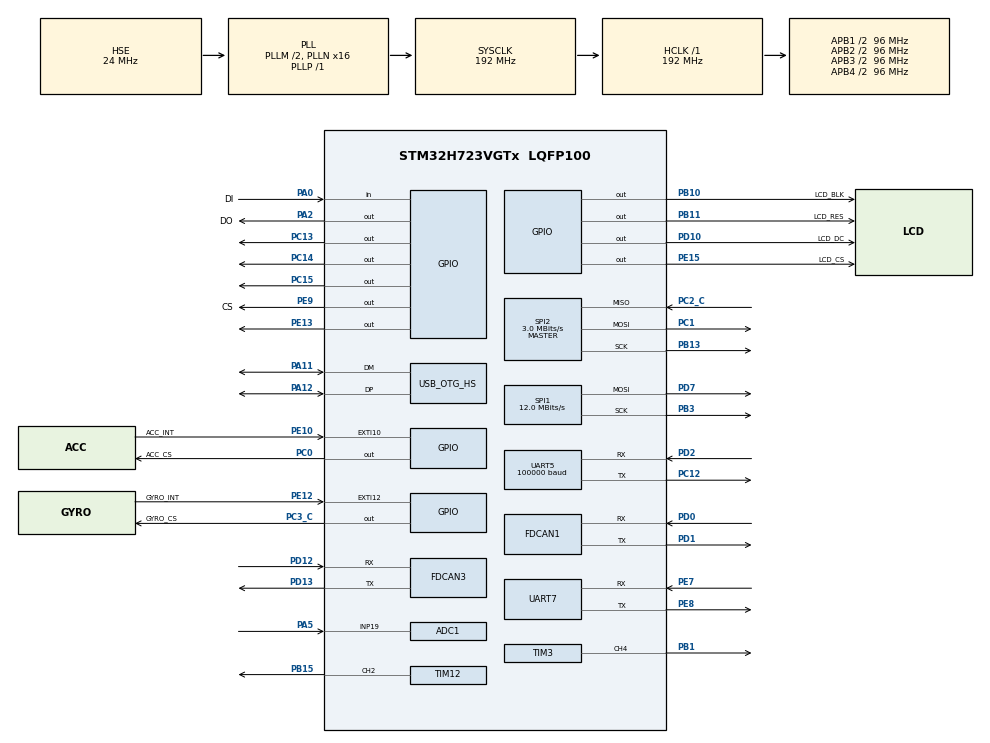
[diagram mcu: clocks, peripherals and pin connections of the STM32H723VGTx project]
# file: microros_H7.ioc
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ADC1.Channel-1\#ChannelRegularConversion=ADC_CHANNEL_19
ADC1.NbrOfConversionFlag=1
ADC1.OffsetNumber-1\#ChannelRegularConversion=ADC_OFFSET_NONE
ADC1.OffsetSignedSaturation-1\#ChannelRegularConversion=DISABLE
ADC1.Rank-1\#ChannelRegularConversion=1
ADC1.SamplingTime-1\#ChannelRegularConversion=ADC_SAMPLETIME_1CYCLE_5
ADC1.master=1
CORTEX_M7.CPU_ICache=Enabled
CORTEX_M7.default_mode_Activation=1
Dma.Request0=UART7_RX
Dma.Request1=UART7_TX
Dma.Request2=SPI2_RX
Dma.Request3=SPI2_TX
Dma.Request4=UART5_RX
Dma.SPI2_RX.2.Direction=DMA_PERIPH_TO_MEMORY
Dma.SPI2_RX.2.EventEnable=DISABLE
Dma.SPI2_RX.2.FIFOMode=DMA_FIFOMODE_DISABLE
Dma.SPI2_RX.2.Instance=DMA1_Stream2
Dma.SPI2_RX.2.MemDataAlignment=DMA_MDATAALIGN_BYTE
Dma.SPI2_RX.2.MemInc=DMA_MINC_ENABLE
Dma.SPI2_RX.2.Mode=DMA_NORMAL
Dma.SPI2_RX.2.PeriphDataAlignment=DMA_PDATAALIGN_BYTE
Dma.SPI2_RX.2.PeriphInc=DMA_PINC_DISABLE
Dma.SPI2_RX.2.Polarity=HAL_DMAMUX_REQ_GEN_RISING
Dma.SPI2_RX.2.Priority=DMA_PRIORITY_VERY_HIGH
Dma.SPI2_RX.2.RequestNumber=1
Dma.SPI2_RX.2.SignalID=NONE
Dma.SPI2_RX.2.SyncEnable=DISABLE
Dma.SPI2_RX.2.SyncPolarity=HAL_DMAMUX_SYNC_NO_EVENT
Dma.SPI2_RX.2.SyncRequestNumber=1
Dma.SPI2_RX.2.SyncSignalID=NONE
Dma.SPI2_TX.3.Direction=DMA_MEMORY_TO_PERIPH
Dma.SPI2_TX.3.EventEnable=DISABLE
Dma.SPI2_TX.3.FIFOMode=DMA_FIFOMODE_DISABLE
Dma.SPI2_TX.3.Instance=DMA1_Stream3
Dma.SPI2_TX.3.MemDataAlignment=DMA_MDATAALIGN_BYTE
Dma.SPI2_TX.3.MemInc=DMA_MINC_ENABLE
Dma.SPI2_TX.3.Mode=DMA_NORMAL
Dma.SPI2_TX.3.PeriphDataAlignment=DMA_PDATAALIGN_BYTE
Dma.SPI2_TX.3.PeriphInc=DMA_PINC_DISABLE
Dma.SPI2_TX.3.Polarity=HAL_DMAMUX_REQ_GEN_RISING
Dma.SPI2_TX.3.Priority=DMA_PRIORITY_HIGH
Dma.SPI2_TX.3.RequestNumber=1
Dma.SPI2_TX.3.SignalID=NONE
Dma.SPI2_TX.3.SyncEnable=DISABLE
Dma.SPI2_TX.3.SyncPolarity=HAL_DMAMUX_SYNC_NO_EVENT
Dma.SPI2_TX.3.SyncRequestNumber=1
Dma.SPI2_TX.3.SyncSignalID=NONE
Dma.UART5_RX.4.Direction=DMA_PERIPH_TO_MEMORY
Dma.UART5_RX.4.EventEnable=DISABLE
Dma.UART5_RX.4.FIFOMode=DMA_FIFOMODE_DISABLE
Dma.UART5_RX.4.Instance=DMA1_Stream4
Dma.UART5_RX.4.MemDataAlignment=DMA_MDATAALIGN_BYTE
Dma.UART5_RX.4.MemInc=DMA_MINC_ENABLE
Dma.UART5_RX.4.Mode=DMA_NORMAL
Dma.UART5_RX.4.PeriphDataAlignment=DMA_PDATAALIGN_BYTE
Dma.UART5_RX.4.PeriphInc=DMA_PINC_DISABLE
Dma.UART5_RX.4.Polarity=HAL_DMAMUX_REQ_GEN_RISING
Dma.UART5_RX.4.Priority=DMA_PRIORITY_HIGH
Dma.UART5_RX.4.RequestNumber=1
Dma.UART5_RX.4.SignalID=NONE
Dma.UART5_RX.4.SyncEnable=DISABLE
Dma.UART5_RX.4.SyncPolarity=HAL_DMAMUX_SYNC_NO_EVENT
Dma.UART5_RX.4.SyncRequestNumber=1
Dma.UART5_RX.4.SyncSignalID=NONE
Dma.UART7_RX.0.Direction=DMA_PERIPH_TO_MEMORY
Dma.UART7_RX.0.EventEnable=DISABLE
Dma.UART7_RX.0.FIFOMode=DMA_FIFOMODE_DISABLE
Dma.UART7_RX.0.Instance=DMA1_Stream0
Dma.UART7_RX.0.MemDataAlignment=DMA_MDATAALIGN_BYTE
Dma.UART7_RX.0.MemInc=DMA_MINC_ENABLE
Dma.UART7_RX.0.Mode=DMA_CIRCULAR
Dma.UART7_RX.0.PeriphDataAlignment=DMA_PDATAALIGN_BYTE
Dma.UART7_RX.0.PeriphInc=DMA_PINC_DISABLE
Dma.UART7_RX.0.Polarity=HAL_DMAMUX_REQ_GEN_RISING
Dma.UART7_RX.0.Priority=DMA_PRIORITY_VERY_HIGH
Dma.UART7_RX.0.RequestNumber=1
Dma.UART7_RX.0.SignalID=NONE
Dma.UART7_RX.0.SyncEnable=DISABLE
Dma.UART7_RX.0.SyncPolarity=HAL_DMAMUX_SYNC_NO_EVENT
Dma.UART7_RX.0.SyncRequestNumber=1
Dma.UART7_RX.0.SyncSignalID=NONE
Dma.UART7_TX.1.Direction=DMA_MEMORY_TO_PERIPH
Dma.UART7_TX.1.EventEnable=DISABLE
Dma.UART7_TX.1.FIFOMode=DMA_FIFOMODE_DISABLE
Dma.UART7_TX.1.Instance=DMA1_Stream1
Dma.UART7_TX.1.MemDataAlignment=DMA_MDATAALIGN_BYTE
Dma.UART7_TX.1.MemInc=DMA_MINC_ENABLE
Dma.UART7_TX.1.Mode=DMA_NORMAL
Dma.UART7_TX.1.PeriphDataAlignment=DMA_PDATAALIGN_BYTE
Dma.UART7_TX.1.PeriphInc=DMA_PINC_DISABLE
Dma.UART7_TX.1.Polarity=HAL_DMAMUX_REQ_GEN_RISING
Dma.UART7_TX.1.Priority=DMA_PRIORITY_VERY_HIGH
Dma.UART7_TX.1.RequestNumber=1
Dma.UART7_TX.1.SignalID=NONE
Dma.UART7_TX.1.SyncEnable=DISABLE
Dma.UART7_TX.1.SyncPolarity=HAL_DMAMUX_SYNC_NO_EVENT
Dma.UART7_TX.1.SyncRequestNumber=1
Dma.UART7_TX.1.SyncSignalID=NONE
FDCAN1.AutoRetransmission=ENABLE
FDCAN1.CalculateBaudRateNominal=1000000
FDCAN1.CalculateTimeBitNominal=1000
FDCAN1.CalculateTimeQuantumNominal=40.0
FDCAN1.DataPrescaler=4
FDCAN1.DataTimeSeg1=19
FDCAN1.DataTimeSeg2=5
FDCAN1.ExtFiltersNbr=5
FDCAN1.NominalPrescaler=4
FDCAN1.NominalTimeSeg1=19
FDCAN1.NominalTimeSeg2=5
FDCAN1.RxFifo0ElmtSize=FDCAN_DATA_BYTES_24
FDCAN1.RxFifo0ElmtsNbr=4
FDCAN1.RxFifo1ElmtSize=FDCAN_DATA_BYTES_24
FDCAN1.StdFiltersNbr=5
FDCAN1.TxElmtSize=FDCAN_DATA_BYTES_24
FDCAN1.TxFifoQueueElmtsNbr=32
FDCAN3.AutoRetransmission=ENABLE
FDCAN3.CalculateBaudRateNominal=1000000
FDCAN3.CalculateTimeBitNominal=1000
FDCAN3.CalculateTimeQuantumNominal=40.0
FDCAN3.DataPrescaler=4
FDCAN3.DataTimeSeg1=19
FDCAN3.DataTimeSeg2=5
FDCAN3.ExtFiltersNbr=5
FDCAN3.MessageRAMOffset=1709
FDCAN3.NominalPrescaler=4
FDCAN3.NominalTimeSeg1=19
FDCAN3.NominalTimeSeg2=5
FDCAN3.RxFifo0ElmtSize=FDCAN_DATA_BYTES_8
FDCAN3.RxFifo0ElmtsNbr=2
FDCAN3.RxFifo1ElmtSize=FDCAN_DATA_BYTES_8
FDCAN3.StdFiltersNbr=5
FDCAN3.TxElmtSize=FDCAN_DATA_BYTES_8
FDCAN3.TxFifoQueueElmtsNbr=32
FREERTOS.Tasks01=defaultTask,24,3000,StartDefaultTask,Default,NULL,Dynamic,NULL,NULL
FREERTOS.configTOTAL_HEAP_SIZE=98304
Mcu.Family=STM32H7
Mcu.Name=STM32H723VGTx
Mcu.Package=LQFP100
NVIC.DMA1_Stream0_IRQn=true\:5\:0\:false\:false\:true\:true\:false\:true\:true
NVIC.DMA1_Stream1_IRQn=true\:5\:0\:false\:false\:true\:true\:false\:true\:true
NVIC.DMA1_Stream2_IRQn=true\:5\:0\:false\:false\:true\:true\:false\:true\:true
NVIC.DMA1_Stream3_IRQn=true\:5\:0\:false\:false\:true\:true\:false\:true\:true
NVIC.DMA1_Stream4_IRQn=true\:5\:0\:false\:false\:true\:true\:false\:true\:true
NVIC.FDCAN1_IT0_IRQn=true\:5\:0\:false\:false\:true\:true\:true\:true\:true
NVIC.FDCAN3_IT0_IRQn=true\:5\:0\:false\:false\:true\:true\:true\:true\:true
NVIC.OTG_HS_IRQn=true\:5\:0\:false\:false\:true\:true\:false\:true\:true
NVIC.PriorityGroup=NVIC_PRIORITYGROUP_4
NVIC.SPI2_IRQn=true\:5\:0\:false\:false\:true\:true\:false\:true\:true
NVIC.TIM6_DAC_IRQn=true\:15\:0\:false\:false\:true\:false\:false\:true\:true
NVIC.TimeBase=TIM6_DAC_IRQn
NVIC.TimeBaseIP=TIM6
NVIC.UART7_IRQn=true\:5\:0\:false\:false\:true\:true\:false\:true\:true
PA0.GPIO_Label=DI
PA0.GPIO_PuPd=GPIO_PULLUP
PA0.Signal=GPIO_Input
PA11.Mode=Device_Only_FS
PA11.Signal=USB_OTG_HS_DM
PA12.Mode=Device_Only_FS
PA12.Signal=USB_OTG_HS_DP
PA13(JTMS/SWDIO).Mode=Serial_Wire
PA13(JTMS/SWDIO).Signal=DEBUG_JTMS-SWDIO
PA14(JTCK/SWCLK).Mode=Serial_Wire
PA14(JTCK/SWCLK).Signal=DEBUG_JTCK-SWCLK
PA2.GPIO_Label=DO
PA2.GPIO_PuPd=GPIO_PULLUP
PA2.GPIO_Speed=GPIO_SPEED_FREQ_VERY_HIGH
PA2.PinState=GPIO_PIN_SET
PA2.Signal=GPIO_Output
PA5.Signal=ADCx_INP19
PB1.Signal=S_TIM3_CH4
PB10.GPIO_Label=LCD_BLK
PB10.GPIO_PuPd=GPIO_PULLUP
PB10.GPIO_Speed=GPIO_SPEED_FREQ_VERY_HIGH
PB10.PinState=GPIO_PIN_SET
PB10.Signal=GPIO_Output
PB11.GPIO_Label=LCD_RES
PB11.GPIO_PuPd=GPIO_PULLUP
PB11.GPIO_Speed=GPIO_SPEED_FREQ_VERY_HIGH
PB11.PinState=GPIO_PIN_SET
PB11.Signal=GPIO_Output
PB13.Mode=Full_Duplex_Master
PB13.Signal=SPI2_SCK
PB15.Signal=S_TIM12_CH2
PB3(JTDO/TRACESWO).GPIO_Speed=GPIO_SPEED_FREQ_VERY_HIGH
PB3(JTDO/TRACESWO).Mode=TX_Only_Simplex_Unidirect_Master
PB3(JTDO/TRACESWO).Signal=SPI1_SCK
PB5.Signal=FDCAN2_RX
PB6.Signal=FDCAN2_TX
PC0.GPIO_Label=ACC_CS
PC0.GPIO_Speed=GPIO_SPEED_FREQ_VERY_HIGH
PC0.PinState=GPIO_PIN_SET
PC0.Signal=GPIO_Output
PC1.Mode=Full_Duplex_Master
PC1.Signal=SPI2_MOSI
PC12.Mode=Asynchronous
PC12.Signal=UART5_TX
PC13.PinState=GPIO_PIN_SET
PC13.Signal=GPIO_Output
PC14-OSC32_IN.PinState=GPIO_PIN_SET
PC14-OSC32_IN.Signal=GPIO_Output
PC15-OSC32_OUT.PinState=GPIO_PIN_SET
PC15-OSC32_OUT.Signal=GPIO_Output
PC2_C.Mode=Full_Duplex_Master
PC2_C.Signal=SPI2_MISO
PC3_C.GPIO_Label=GYRO_CS
PC3_C.GPIO_Speed=GPIO_SPEED_FREQ_VERY_HIGH
PC3_C.PinState=GPIO_PIN_SET
PC3_C.Signal=GPIO_Output
PD0.GPIO_PuPd=GPIO_PULLUP
PD0.GPIO_Speed=GPIO_SPEED_FREQ_VERY_HIGH
PD0.Mode=FDCAN_Activate
PD0.Signal=FDCAN1_RX
PD1.GPIO_PuPd=GPIO_PULLUP
PD1.GPIO_Speed=GPIO_SPEED_FREQ_VERY_HIGH
PD1.Mode=FDCAN_Activate
PD1.Signal=FDCAN1_TX
PD10.GPIO_Label=LCD_DC
PD10.GPIO_PuPd=GPIO_PULLUP
PD10.GPIO_Speed=GPIO_SPEED_FREQ_VERY_HIGH
PD10.PinState=GPIO_PIN_SET
PD10.Signal=GPIO_Output
PD12.GPIO_PuPd=GPIO_PULLUP
PD12.GPIO_Speed=GPIO_SPEED_FREQ_VERY_HIGH
PD12.Mode=FDCAN_Activate
PD12.Signal=FDCAN3_RX
PD13.GPIO_PuPd=GPIO_PULLUP
PD13.GPIO_Speed=GPIO_SPEED_FREQ_VERY_HIGH
PD13.Mode=FDCAN_Activate
PD13.Signal=FDCAN3_TX
PD2.Mode=Asynchronous
PD2.Signal=UART5_RX
PD7.GPIO_Speed=GPIO_SPEED_FREQ_VERY_HIGH
PD7.Mode=TX_Only_Simplex_Unidirect_Master
PD7.Signal=SPI1_MOSI
PE10.GPIO_Label=ACC_INT
PE10.Signal=GPXTI10
PE12.GPIO_Label=GYRO_INT
PE12.Signal=GPXTI12
PE13.GPIO_PuPd=GPIO_PULLUP
PE13.GPIO_Speed=GPIO_SPEED_FREQ_VERY_HIGH
PE13.PinState=GPIO_PIN_SET
PE13.Signal=GPIO_Output
PE15.GPIO_Label=LCD_CS
PE15.GPIO_PuPd=GPIO_PULLUP
PE15.GPIO_Speed=GPIO_SPEED_FREQ_VERY_HIGH
PE15.PinState=GPIO_PIN_SET
PE15.Signal=GPIO_Output
PE7.Mode=Asynchronous
PE7.Signal=UART7_RX
PE8.Mode=Asynchronous
PE8.Signal=UART7_TX
PE9.GPIO_Label=CS
PE9.GPIO_PuPd=GPIO_PULLUP
PE9.GPIO_Speed=GPIO_SPEED_FREQ_VERY_HIGH
PE9.PinState=GPIO_PIN_SET
PE9.Signal=GPIO_Output
PH0-OSC_IN.Mode=HSE-External-Oscillator
PH0-OSC_IN.Signal=RCC_OSC_IN
PH1-OSC_OUT.Mode=HSE-External-Oscillator
PH1-OSC_OUT.Signal=RCC_OSC_OUT
ProjectManager.HeapSize=0x4000
ProjectManager.StackSize=0x4000
ProjectManager.TargetToolchain=Makefile
RCC.ADCFreq_Value=150000000
RCC.APB1Freq_Value=96000000
RCC.APB2Freq_Value=96000000
RCC.APB3Freq_Value=96000000
RCC.APB4Freq_Value=96000000
RCC.CortexFreq_Value=192000000
RCC.D1PPRE=RCC_APB3_DIV2
RCC.D2PPRE1=RCC_APB1_DIV2
RCC.D2PPRE2=RCC_APB2_DIV2
RCC.D3PPRE=RCC_APB4_DIV2
RCC.DIVM1=2
RCC.DIVM2=2
RCC.DIVN1=16
RCC.DIVN2=25
RCC.DIVP1=1
RCC.DIVQ1=4
RCC.DIVQ2=3
RCC.FDCANCLockSelection=RCC_FDCANCLKSOURCE_PLL2
RCC.HCLKFreq_Value=192000000
RCC.HSE_VALUE=24000000
RCC.PLL2FRACN=0
RCC.PLL3FRACN=0
RCC.PLLFRACN=0
RCC.PLLSourceVirtual=RCC_PLLSOURCE_HSE
RCC.SYSCLKFreq_VALUE=192000000
RCC.SYSCLKSource=RCC_SYSCLKSOURCE_PLLCLK
RCC.USBFreq_Value=48000000
SH.ADCx_INP19.0=ADC1_INP19,IN19-Single-Ended
SH.S_TIM12_CH2.0=TIM12_CH2,PWM Generation2 CH2
SH.S_TIM3_CH4.0=TIM3_CH4,PWM Generation4 CH4
SPI1.BaudRatePrescaler=SPI_BAUDRATEPRESCALER_8
SPI1.CLKPhase=SPI_PHASE_2EDGE
SPI1.CLKPolarity=SPI_POLARITY_HIGH
SPI1.CalculateBaudRate=12.0 MBits/s
SPI1.DataSize=SPI_DATASIZE_8BIT
SPI1.Direction=SPI_DIRECTION_2LINES_TXONLY
SPI1.FifoThreshold=SPI_FIFO_THRESHOLD_01DATA
SPI1.MasterKeepIOState=SPI_MASTER_KEEP_IO_STATE_ENABLE
SPI1.Mode=SPI_MODE_MASTER
SPI1.VirtualType=VM_MASTER
SPI2.BaudRatePrescaler=SPI_BAUDRATEPRESCALER_32
SPI2.CLKPhase=SPI_PHASE_2EDGE
SPI2.CLKPolarity=SPI_POLARITY_HIGH
SPI2.CalculateBaudRate=3.0 MBits/s
SPI2.DataSize=SPI_DATASIZE_8BIT
SPI2.Direction=SPI_DIRECTION_2LINES
SPI2.FifoThreshold=SPI_FIFO_THRESHOLD_10DATA
SPI2.Mode=SPI_MODE_MASTER
SPI2.VirtualType=VM_MASTER
TIM12.Channel-PWM\ Generation2\ CH2=TIM_CHANNEL_2
TIM12.Period=2000-1
TIM12.Prescaler=24-1
TIM3.AutoReloadPreload=TIM_AUTORELOAD_PRELOAD_ENABLE
TIM3.Channel-PWM\ Generation4\ CH4=TIM_CHANNEL_4
TIM3.Period=10000-1
TIM3.Prescaler=24-1
UART5.BaudRate=100000
UART5.Parity=UART_PARITY_EVEN
UART5.StopBits=UART_STOPBITS_2
UART5.WordLength=UART_WORDLENGTH_9B
USB_DEVICE.CLASS_NAME_HS=CDC
USB_DEVICE.VirtualMode=Cdc
USB_DEVICE.VirtualModeHS=Cdc_HS
USB_OTG_HS.VirtualMode-Device_Only_FS=Device_Only_FS
VP_FREERTOS_VS_CMSIS_V2.Mode=CMSIS_V2
VP_MEMORYMAP_VS_MEMORYMAP.Mode=CurAppReg
VP_SYS_VS_tim6.Mode=TIM6
VP_USB_DEVICE_VS_USB_DEVICE_CDC_HS.Mode=CDC_HS
board=custom

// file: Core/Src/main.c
/* USER CODE BEGIN Header */
/**
  ******************************************************************************
  * @file           : main.c
  * @brief          : Main program body
  ******************************************************************************
  * @attention
  *
  * Copyright (c) 2026 STMicroelectronics.
  * All rights reserved.
  *
  * This software is licensed under terms that can be found in the LICENSE file
  * in the root directory of this software component.
  * If no LICENSE file comes with this software, it is provided AS-IS.
  *
  ******************************************************************************
  */
/* USER CODE END Header */
#include "main.h"
#include "cmsis_os.h"
#include "adc.h"
#include "dma.h"
#include "fdcan.h"
#include "spi.h"
#include "tim.h"
#include "usart.h"
#include "usb_device.h"
#include "gpio.h"

/* USER CODE BEGIN Includes */
#include "bsp_dwt.h"
#include "BMI088driver.h"
#include "bsp_sbus.h"
#include "lcd.h"
#include "stdio.h"
/* USER CODE END Includes */

void SystemClock_Config(void);
void PeriphCommonClock_Config(void);
static void MPU_Config(void);
void MX_FREERTOS_Init(void);

int main(void)
{

  /* MPU Configuration--------------------------------------------------------*/
  MPU_Config();

  /* Enable the CPU Cache */

  /* Enable I-Cache---------------------------------------------------------*/
  SCB_EnableICache();

  /* MCU Configuration--------------------------------------------------------*/

  /* Reset of all peripherals, Initializes the Flash interface and the Systick. */
  HAL_Init();

  /* Configure the system clock */
  SystemClock_Config();

  /* Configure the peripherals common clocks */
  PeriphCommonClock_Config();

  /* USER CODE BEGIN SysInit */
  /* Derive the cycle-counter frequency from the actual clock tree instead of a
     literal: this PLL setup yields 192 MHz, so the previous DWT_Init(550) made
     every DWT_GetDeltaT() report dt 2.86x too small — which fed straight into
     the Mahony filter's integration step. */
  DWT_Init(SystemCoreClock / 1000000U);
  /* USER CODE END SysInit */

  /* Initialize all configured peripherals */
  MX_GPIO_Init();
  MX_DMA_Init();
  MX_UART7_Init();
  MX_FDCAN1_Init();
  MX_SPI2_Init();
  MX_TIM3_Init();
  MX_TIM12_Init();
  MX_FDCAN3_Init();
  MX_SPI1_Init();
  MX_ADC1_Init();
  MX_UART5_Init();
  /* USER CODE BEGIN 2 */
  printf("\r\n========================================\r\n");
  printf("[BOOT] STM32H723 Robot Controller Starting...\r\n");
  printf("[BOOT] Debug Serial: UART7 @ 115200 bps (PE8 TX)\r\n");

  sbus_bsp_init();        /* SBUS / DBUS Receiver on UART5 (PD2) */

  printf("[BOOT] Initializing ST7789 LCD (SPI1 Master)...\r\n");
  LCD_Init();
  printf("[BOOT] LCD Init Done! SPI1: State=%d, Error=0x%08lX, KernelClk=%lu Hz\r\n",
         hspi1.State, hspi1.ErrorCode, HAL_RCCEx_GetPeriphCLKFreq(RCC_PERIPHCLK_SPI1));
  LCD_Fill(0, 0, LCD_W, LCD_H, BLACK); /* Clear Screen to Black */
  LCD_DrawRectangle(0, 0, LCD_W-1, LCD_H-1, CYAN);
  LCD_ShowString(10, 30, (const uint8_t*)"CtrBoard-H7", BRRED, BLACK, 24, 0);
  LCD_ShowString(10, 80, (const uint8_t*)"micro-ROS USB Link", WHITE, BLACK, 16, 0);
  LCD_ShowString(10, 110, (const uint8_t*)"STM32H723 @ 550MHz", GREEN, BLACK, 16, 0);
  printf("[BOOT] LCD Init OK (280x240 Panel Active)\r\n");

  uint8_t imu_ret = BMI088_init(&hspi2, 0); /* Try init BMI088, do not block MCU if IMU missing */
  printf("[BOOT] BMI088 IMU: %s\r\n", (imu_ret == 0) ? "OK" : "FAILED / NOT FOUND");
  printf("[BOOT] Launching FreeRTOS Kernel...\r\n");
  printf("========================================\r\n\r\n");
  /* USER CODE END 2 */

  /* Init scheduler */
  osKernelInitialize();  /* Call init function for freertos objects (in cmsis_os2.c) */
  MX_FREERTOS_Init();

  /* Start scheduler */
  osKernelStart();

  /* We should never get here as control is now taken by the scheduler */

  /* Infinite loop */
  while (1)
  {

  }
}

void SystemClock_Config(void)
{
  RCC_OscInitTypeDef RCC_OscInitStruct = {0};
  RCC_ClkInitTypeDef RCC_ClkInitStruct = {0};

  /** Supply configuration update enable
  */
  HAL_PWREx_ConfigSupply(PWR_LDO_SUPPLY);

  /** Configure the main internal regulator output voltage
  */
  __HAL_PWR_VOLTAGESCALING_CONFIG(PWR_REGULATOR_VOLTAGE_SCALE1);

  while(!__HAL_PWR_GET_FLAG(PWR_FLAG_VOSRDY)) {}

  /** Initializes the RCC Oscillators according to the specified parameters
  * in the RCC_OscInitTypeDef structure.
  */
  RCC_OscInitStruct.OscillatorType = RCC_OSCILLATORTYPE_HSE;
  RCC_OscInitStruct.HSEState = RCC_HSE_ON;
  RCC_OscInitStruct.PLL.PLLState = RCC_PLL_ON;
  RCC_OscInitStruct.PLL.PLLSource = RCC_PLLSOURCE_HSE;
  RCC_OscInitStruct.PLL.PLLM = 2;
  RCC_OscInitStruct.PLL.PLLN = 16;
  RCC_OscInitStruct.PLL.PLLP = 1;
  RCC_OscInitStruct.PLL.PLLQ = 4;
  RCC_OscInitStruct.PLL.PLLR = 2;
  RCC_OscInitStruct.PLL.PLLRGE = RCC_PLL1VCIRANGE_3;
  RCC_OscInitStruct.PLL.PLLVCOSEL = RCC_PLL1VCOWIDE;
  RCC_OscInitStruct.PLL.PLLFRACN = 0;
  if (HAL_RCC_OscConfig(&RCC_OscInitStruct) != HAL_OK)
  {
    Error_Handler();
  }

  /** Initializes the CPU, AHB and APB buses clocks
  */
  RCC_ClkInitStruct.ClockType = RCC_CLOCKTYPE_HCLK|RCC_CLOCKTYPE_SYSCLK
                              |RCC_CLOCKTYPE_PCLK1|RCC_CLOCKTYPE_PCLK2
                              |RCC_CLOCKTYPE_D3PCLK1|RCC_CLOCKTYPE_D1PCLK1;
  RCC_ClkInitStruct.SYSCLKSource = RCC_SYSCLKSOURCE_PLLCLK;
  RCC_ClkInitStruct.SYSCLKDivider = RCC_SYSCLK_DIV1;
  RCC_ClkInitStruct.AHBCLKDivider = RCC_HCLK_DIV1;
  RCC_ClkInitStruct.APB3CLKDivider = RCC_APB3_DIV2;
  RCC_ClkInitStruct.APB1CLKDivider = RCC_APB1_DIV2;
  RCC_ClkInitStruct.APB2CLKDivider = RCC_APB2_DIV2;
  RCC_ClkInitStruct.APB4CLKDivider = RCC_APB4_DIV2;

  if (HAL_RCC_ClockConfig(&RCC_ClkInitStruct, FLASH_LATENCY_2) != HAL_OK)
  {
    Error_Handler();
  }
}

void PeriphCommonClock_Config(void)
{
  RCC_PeriphCLKInitTypeDef PeriphClkInitStruct = {0};

  /** Initializes the peripherals clock
  */
  PeriphClkInitStruct.PeriphClockSelection = RCC_PERIPHCLK_ADC|RCC_PERIPHCLK_FDCAN;
  PeriphClkInitStruct.PLL2.PLL2M = 2;
  PeriphClkInitStruct.PLL2.PLL2N = 25;
  PeriphClkInitStruct.PLL2.PLL2P = 2;
  PeriphClkInitStruct.PLL2.PLL2Q = 3;
  PeriphClkInitStruct.PLL2.PLL2R = 2;
  PeriphClkInitStruct.PLL2.PLL2RGE = RCC_PLL2VCIRANGE_3;
  PeriphClkInitStruct.PLL2.PLL2VCOSEL = RCC_PLL2VCOWIDE;
  PeriphClkInitStruct.PLL2.PLL2FRACN = 0;
  PeriphClkInitStruct.FdcanClockSelection = RCC_FDCANCLKSOURCE_PLL2;
  PeriphClkInitStruct.AdcClockSelection = RCC_ADCCLKSOURCE_PLL2;
  if (HAL_RCCEx_PeriphCLKConfig(&PeriphClkInitStruct) != HAL_OK)
  {
    Error_Handler();
  }
}

 /* MPU Configuration */

void MPU_Config(void)
{
  MPU_Region_InitTypeDef MPU_InitStruct = {0};

  /* Disables the MPU */
  HAL_MPU_Disable();

  /** Initializes and configures the Region and the memory to be protected
  */
  MPU_InitStruct.Enable = MPU_REGION_ENABLE;
  MPU_InitStruct.Number = MPU_REGION_NUMBER0;
  MPU_InitStruct.BaseAddress = 0x0;
  MPU_InitStruct.Size = MPU_REGION_SIZE_4GB;
  MPU_InitStruct.SubRegionDisable = 0x87;
  MPU_InitStruct.TypeExtField = MPU_TEX_LEVEL0;
  MPU_InitStruct.AccessPermission = MPU_REGION_NO_ACCESS;
  MPU_InitStruct.DisableExec = MPU_INSTRUCTION_ACCESS_DISABLE;
  MPU_InitStruct.IsShareable = MPU_ACCESS_SHAREABLE;
  MPU_InitStruct.IsCacheable = MPU_ACCESS_NOT_CACHEABLE;
  MPU_InitStruct.IsBufferable = MPU_ACCESS_NOT_BUFFERABLE;

  HAL_MPU_ConfigRegion(&MPU_InitStruct);
  /* Enables the MPU */
  HAL_MPU_Enable(MPU_PRIVILEGED_DEFAULT);

}

void HAL_TIM_PeriodElapsedCallback(TIM_HandleTypeDef *htim)
{
  if (htim->Instance == TIM6)
  {
    HAL_IncTick();
  }
}

void Error_Handler(void)
{
  __disable_irq();
  while (1)
  {
  }
}

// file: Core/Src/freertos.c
/* USER CODE BEGIN Header */
/**
  ******************************************************************************
  * File Name          : freertos.c
  * Description        : Code for freertos applications
  ******************************************************************************
  * @attention
  *
  * Copyright (c) 2026 STMicroelectronics.
  * All rights reserved.
  *
  * This software is licensed under terms that can be found in the LICENSE file
  * in the root directory of this software component.
  * If no LICENSE file comes with this software, it is provided AS-IS.
  *
  ******************************************************************************
  */
/* USER CODE END Header */

#include "FreeRTOS.h"
#include "task.h"
#include "main.h"
#include "cmsis_os.h"

/* USER CODE BEGIN Includes */
#include <stdio.h>
#include <rcl/rcl.h>
#include <rcl/error_handling.h>
#include <rclc/rclc.h>
#include <rclc/executor.h>
#include <uxr/client/transport.h>
#include <rmw_microxrcedds_c/config.h>
#include <rmw_microros/rmw_microros.h>
#include <geometry_msgs/msg/twist.h>
#include <geometry_msgs/msg/vector3.h>
#include <sensor_msgs/msg/imu.h>
#include <sensor_msgs/msg/joint_state.h>
#include <nav_msgs/msg/odometry.h>
#include <std_msgs/msg/bool.h>
#include <std_msgs/msg/u_int8.h>
#include <std_msgs/msg/float64_multi_array.h>
#include <string.h>
#include <math.h>
#include "INS_task.h"
#include "observe_task.h"
#include "motor_task.h"
#include "can_bsp.h"
#include "BMI088driver.h"
#include "bsp_dwt.h"
#include "lcd_task.h"
#include "spi.h"
/* USER CODE END Includes */

/* USER CODE BEGIN Variables */
/* ── micro-ROS State Machine Definitions ─────────────────────────── */
typedef enum {
  WAITING_AGENT,
  AGENT_AVAILABLE,
  AGENT_CONNECTED,
  AGENT_DISCONNECTED
} agent_state_t;

static agent_state_t g_agent_state = WAITING_AGENT;
static CommMetrics_t g_comm_metrics = {0};
static uint32_t      g_cmd_rx_window_count = 0;
static uint32_t      g_last_hz_calc_tick = 0;

uint8_t micro_ros_get_state(void)
{
  return (uint8_t)g_agent_state;
}

extern size_t cubemx_transport_get_pending(void);

/* micro-ROS entities */
static rcl_publisher_t    pub_motor_fb;
static rcl_publisher_t    pub_motor_status;
static rcl_publisher_t    pub_imu;
static rcl_publisher_t    pub_imu_debug;
static rcl_subscription_t sub_cmd_vel;
static rcl_subscription_t sub_motor_enable;
static rcl_subscription_t sub_cmd_mit;
static rcl_subscription_t sub_cmd_torque;
static rclc_support_t     support;
static rcl_allocator_t    allocator;
static rcl_node_t         node;
static rclc_executor_t    executor;

static sensor_msgs__msg__JointState motor_fb_msg;
static std_msgs__msg__UInt8         motor_status_msg;
static sensor_msgs__msg__Imu        imu_msg;
static std_msgs__msg__Float64MultiArray imu_debug_msg;
static double imu_debug_data[22];
static geometry_msgs__msg__Twist    cmd_vel_msg;
static std_msgs__msg__Bool          motor_enable_msg;
static std_msgs__msg__Float64MultiArray cmd_mit_msg;
static std_msgs__msg__Float64MultiArray cmd_torque_msg;

/* Static buffers for incoming /cmd_mit. micro-ROS deserialises sequences into
   caller-owned memory and drops any message that does not fit, so layout.dim
   gets room too: a publisher that fills it in must not lose every command. */
#define CMD_MIT_DIM_MAX    2U
#define CMD_MIT_LABEL_MAX  16U
static double                             cmd_mit_data[CMD_MIT_LEN];
static std_msgs__msg__MultiArrayDimension cmd_mit_dim[CMD_MIT_DIM_MAX];
static char                               cmd_mit_label[CMD_MIT_DIM_MAX][CMD_MIT_LABEL_MAX];

/* /cmd_torque gets its own buffers: the executor takes every ready message
   before running any callback, so shared buffers would let one topic
   overwrite the other's data before it is read. */
static double                             cmd_torque_data[CMD_TORQUE_LEN];
static std_msgs__msg__MultiArrayDimension cmd_torque_dim[CMD_MIT_DIM_MAX];
static char                               cmd_torque_label[CMD_MIT_DIM_MAX][CMD_MIT_LABEL_MAX];

/* Static buffers for JointState (zero dynamic heap allocation in control loop) */
static double                     js_pos[2];
static double                     js_vel[2];
static double                     js_eff[2];
static rosidl_runtime_c__String   js_name_item[2];
static char                       js_name_str0[] = "left_wheel";
static char                       js_name_str1[] = "right_wheel";
static char                       js_frame_id[]  = "base_link";
static char                       imu_frame_id[] = "imu_link";

/* Track successful initializations so every failure/reconnect releases only
 * live entities, in reverse dependency order. */
enum {
  ENT_SUPPORT = 1U << 0, ENT_NODE = 1U << 1,
  ENT_MOTOR_FB = 1U << 2, ENT_MOTOR_STATUS = 1U << 3, ENT_IMU = 1U << 4,
  ENT_CMD_VEL = 1U << 5, ENT_MOTOR_ENABLE = 1U << 6, ENT_CMD_MIT = 1U << 7,
  ENT_EXECUTOR = 1U << 8, ENT_CMD_TORQUE = 1U << 9,
  ENT_IMU_DEBUG = 1U << 10
};
static uint32_t g_entities;
static bool g_time_synced;
static uint32_t g_last_imu_sequence;
static int64_t g_last_imu_stamp_ns;
extern size_t xPortGetFreeHeapSizeMicroROS(void);
extern size_t xPortGetMinimumEverFreeHeapSizeMicroROS(void);

/* /motor_status bit meanings — lets a ROS node tell "wheel stopped" apart from
   "no CAN feedback", which a JointState full of zeros cannot express. */
#define MSTAT_LEFT_FRESH    (1U << 0)
#define MSTAT_RIGHT_FRESH   (1U << 1)
#define MSTAT_CAN1_BUSOFF   (1U << 2)
#define MSTAT_CAN3_BUSOFF   (1U << 3)
#define MSTAT_MOTORS_ENABLED (1U << 4)
#define MSTAT_CMD_TIMEOUT   (1U << 5)
#define MSTAT_MODE_MIT      (1U << 6)   /* 0 = Velocity (/cmd_vel), 1 = MIT (/cmd_mit, /cmd_torque) */
extern UART_HandleTypeDef huart7;

/* App task handles/attributes live INSIDE this USER CODE block so CubeMX
   regeneration cannot delete them (it wiped them once already). */
osThreadId_t insTaskHandle;
const osThreadAttr_t insTask_attributes = {
  .name = "insTask",
  .stack_size = 1024 * 4,
  .priority = (osPriority_t) osPriorityRealtime,
};

osThreadId_t observeTaskHandle;
const osThreadAttr_t observeTask_attributes = {
  .name = "observeTask",
  .stack_size = 1024 * 4,
  .priority = (osPriority_t) osPriorityHigh,
};

osThreadId_t motorTaskHandle;
const osThreadAttr_t motorTask_attributes = {
  .name = "motorTask",
  .stack_size = 1024 * 4,
  .priority = (osPriority_t) osPriorityAboveNormal,
};

osThreadId_t lcdTaskHandle;
const osThreadAttr_t lcdTask_attributes = {
  .name = "lcdTask",
  .stack_size = 1024 * 4,
  .priority = (osPriority_t) osPriorityBelowNormal,
};
/* USER CODE END Variables */
/* Definitions for defaultTask */
osThreadId_t defaultTaskHandle;
const osThreadAttr_t defaultTask_attributes = {
  .name = "defaultTask",
  .stack_size = 3000 * 4,
  .priority = (osPriority_t) osPriorityNormal,
};

/* USER CODE BEGIN FunctionPrototypes */

/* micro-ROS Entities Helper Functions */
static bool create_entities(void);
static void destroy_entities(void);
static void ros_report_error(const char *stage, rcl_ret_t rc);
static bool ros_stamp_from_tick(uint32_t sample_tick,
                               builtin_interfaces__msg__Time *stamp);
static void publish_imu(void);
void INS_Task_Entry(void *argument);
void Observe_Task_Entry(void *argument);
void Motor_Task_Entry(void *argument);
void LCD_Task_Entry(void *argument);

static void cmd_vel_callback(const void *msg_in);
static void motor_enable_callback(const void *msg_in);
static void cmd_mit_callback(const void *msg_in);
static void cmd_torque_callback(const void *msg_in);

bool cubemx_transport_open(struct uxrCustomTransport * transport);
bool cubemx_transport_close(struct uxrCustomTransport * transport);
size_t cubemx_transport_write(struct uxrCustomTransport* transport, const uint8_t * buf, size_t len, uint8_t * err);
size_t cubemx_transport_read(struct uxrCustomTransport* transport, uint8_t* buf, size_t len, int timeout, uint8_t* err);

void * microros_allocate(size_t size, void * state);
void microros_deallocate(void * pointer, void * state);
void * microros_reallocate(void * pointer, size_t size, void * state);
void * microros_zero_allocate(size_t number_of_elements, size_t size_of_element, void * state);

static bool create_entities(void);
static void destroy_entities(void);
/* USER CODE END FunctionPrototypes */

void StartDefaultTask(void *argument);

extern void MX_USB_DEVICE_Init(void);
void MX_FREERTOS_Init(void); /* (MISRA C 2004 rule 8.1) */

void MX_FREERTOS_Init(void) {

  /* Create the thread(s) */
  /* creation of defaultTask */
  defaultTaskHandle = osThreadNew(StartDefaultTask, NULL, &defaultTask_attributes);

  /* USER CODE BEGIN RTOS_THREADS */
  insTaskHandle     = osThreadNew(INS_Task_Entry,     NULL, &insTask_attributes);
  observeTaskHandle = osThreadNew(Observe_Task_Entry, NULL, &observeTask_attributes);
  motorTaskHandle   = osThreadNew(Motor_Task_Entry,   NULL, &motorTask_attributes);
  lcdTaskHandle     = osThreadNew(LCD_Task_Entry,     NULL, &lcdTask_attributes);
  /* USER CODE END RTOS_THREADS */

}

void StartDefaultTask(void *argument)
{
  /* init code for USB_DEVICE */
  MX_USB_DEVICE_Init();
  /* USER CODE BEGIN StartDefaultTask */
  printf("[ROS] StartDefaultTask running. Init USB custom transport...\r\n");

  rmw_uros_set_custom_transport(
    true,
    (void *) NULL,
    cubemx_transport_open,
    cubemx_transport_close,
    cubemx_transport_write,
    cubemx_transport_read);

  rcl_allocator_t freeRTOS_allocator = rcutils_get_zero_initialized_allocator();
  freeRTOS_allocator.allocate = microros_allocate;
  freeRTOS_allocator.deallocate = microros_deallocate;
  freeRTOS_allocator.reallocate = microros_reallocate;
  freeRTOS_allocator.zero_allocate = microros_zero_allocate;

  if (!rcutils_set_default_allocator(&freeRTOS_allocator)) {
    printf("[ROS_ERR] Failed to set default allocator!\r\n");
    for(;;) osDelay(10);
  }

  uint32_t last_pub_ms = 0U;
  uint32_t last_ping_ms = 0U;
  uint32_t last_imu_ms = 0U;
  uint32_t last_sync_ms = 0U;
  uint8_t ping_misses = 0U;

  for (;;)
  {
    switch (g_agent_state)
    {
      case WAITING_AGENT:
        if (rmw_uros_ping_agent(100, 1) == RMW_RET_OK)
        {
          printf("[ROS] micro-ROS Agent Detected! Initializing entities...\r\n");
          g_agent_state = AGENT_AVAILABLE;
        }
        else
        {
          osDelay(100);
        }
        break;

      case AGENT_AVAILABLE:
        if (create_entities())
        {
          g_agent_state = AGENT_CONNECTED;
          last_pub_ms = HAL_GetTick();
          last_ping_ms = HAL_GetTick();
          last_imu_ms = HAL_GetTick();
          last_sync_ms = HAL_GetTick();
          ping_misses = 0U;
        }
        else
        {
          g_agent_state = WAITING_AGENT;
          osDelay(500);
        }
        break;

      case AGENT_CONNECTED:
      {
        /* 1. Spin executor with ultra-short 1ms timeout */
        rcl_ret_t spin_rc = rclc_executor_spin_some(&executor, RCL_MS_TO_NS(1));
        if (spin_rc != RCL_RET_OK && spin_rc != RCL_RET_TIMEOUT)
        {
          ros_report_error("executor spin", spin_rc);
          g_agent_state = AGENT_DISCONNECTED;
          break;
        }

        uint32_t now = HAL_GetTick();

        /* Publish a coherent, calibrated IMU sample at 50 Hz. Acquisition time
         * is retained even if USB/executor work delays this loop. */
        if ((now - last_imu_ms) >= 20U)
        {
          last_imu_ms = now;
          publish_imu();
        }

        /* 2. Periodic Publish: /motor_fb at 50 Hz (every 20ms) */
        if ((now - last_pub_ms) >= 20U)
        {
          last_pub_ms = now;

          float   m_pos[2], m_vel[2], m_tor[2];
          uint8_t m_valid[2];
          CAN_MotorFeedback_Get_Idx(0, &m_pos[0], &m_vel[0], &m_tor[0], &m_valid[0]);
          CAN_MotorFeedback_Get_Idx(1, &m_pos[1], &m_vel[1], &m_tor[1], &m_valid[1]);
          /* Wheel frame: positive = robot forward on both sides, so the host
             odometry needs no knowledge of how the motors are mounted. */
          js_pos[0] = (double)(m_pos[0] * MOTOR_LEFT_SIGN);
          js_vel[0] = (double)(m_vel[0] * MOTOR_LEFT_SIGN);
          js_eff[0] = (double)(m_tor[0] * MOTOR_LEFT_SIGN);
          js_pos[1] = (double)(m_pos[1] * MOTOR_RIGHT_SIGN);
          js_vel[1] = (double)(m_vel[1] * MOTOR_RIGHT_SIGN);
          js_eff[1] = (double)(m_tor[1] * MOTOR_RIGHT_SIGN);

          /* Never send uptime as ROS epoch time when synchronization failed. */
          if (ros_stamp_from_tick(now, &motor_fb_msg.header.stamp))
          {
            rcl_ret_t pub_ret = rcl_publish(&pub_motor_fb, &motor_fb_msg, NULL);
            if (pub_ret == RCL_RET_OK) g_comm_metrics.pub_tx_count++;
            else rcl_reset_error(); /* Health ping decides when to reconnect. */
          }

          /* Link health, at 1/10 of the feedback rate. Without this a consumer
             cannot distinguish "wheels are stopped" from "CAN is dead". */
          static uint8_t status_divider = 0U;
          if (++status_divider >= 10U)
          {
            status_divider = 0U;
            CAN_BusMetrics_t bm;
            CAN_GetMetrics(&bm);

            uint8_t st = 0U;
            if (m_valid[0])            st |= MSTAT_LEFT_FRESH;
            if (m_valid[1])            st |= MSTAT_RIGHT_FRESH;
            if (bm.can1_proto.bus_off) st |= MSTAT_CAN1_BUSOFF;
            if (bm.can3_proto.bus_off) st |= MSTAT_CAN3_BUSOFF;
            if (g_system_enabled)      st |= MSTAT_MOTORS_ENABLED;
            if (motor_cmd_timed_out()) st |= MSTAT_CMD_TIMEOUT;
            if (motor_get_control_mode() == CTRL_MODE_MIT) st |= MSTAT_MODE_MIT;

            motor_status_msg.data = st;
            rcl_ret_t st_ret = rcl_publish(&pub_motor_status, &motor_status_msg, NULL);
            if (st_ret != RCL_RET_OK) rcl_reset_error();

            /* Diagnostic telemetry remains available when valid IMU output is
             * deliberately suppressed. It is never an estimator input. */
            INS_DebugState_t dbg;
            INS_GetDebugState(&dbg);
            imu_debug_data[0] = BMI088_GetInitStatus();
            imu_debug_data[1] = dbg.read_valid;
            imu_debug_data[2] = dbg.sample.valid;
            imu_debug_data[3] = dbg.sample.calibrated;
            imu_debug_data[4] = dbg.calibration_count;
            imu_debug_data[5] = dbg.sample.sequence;
            /* INS can preempt us after `now` was captured; use a fresh tick
             * after copying the sample to avoid unsigned age underflow. */
            imu_debug_data[6] = (uint32_t)(HAL_GetTick() - dbg.sample.sample_tick_ms);
            for (uint8_t i = 0; i < 3; ++i) {
              imu_debug_data[7 + i] = dbg.accel[i];
              imu_debug_data[10 + i] = dbg.gyro[i];
            }
            imu_debug_data[13] = dbg.accel_scale;
            imu_debug_data[14] = BMI088.gNorm;
            imu_debug_data[15] = dbg.dt;
            imu_debug_data[16] = hspi2.ErrorCode;
            imu_debug_data[17] = g_time_synced;
            imu_debug_data[18] = SYSCFG->PMCR;
            imu_debug_data[19] = SPI2->SR;
            imu_debug_data[20] = BMI088_GetChipId(0);
            imu_debug_data[21] = BMI088_GetChipId(1);
            rcl_ret_t dbg_ret = rcl_publish(&pub_imu_debug, &imu_debug_msg, NULL);
            if (dbg_ret != RCL_RET_OK) rcl_reset_error();
          }
        }

        /* 3. Calculate Command Frequency every 1 second */
        if ((now - g_last_hz_calc_tick) >= 1000U)
        {
          uint32_t dt = now - g_last_hz_calc_tick;
          g_last_hz_calc_tick = now;
          g_comm_metrics.cmd_rate_hz = (float)g_cmd_rx_window_count * 1000.0f / (float)dt;
          g_cmd_rx_window_count = 0;
        }

        /* 4. Periodic Health Check & Ping RTT measurement.
         * A single 50 ms ping every 2 s used to be enough to declare the agent
         * lost: one slow USB turnaround tore down every entity and the topics
         * vanished and reappeared. Ping less often, wait longer, and require
         * several misses in a row before reconnecting. */
        if ((now - last_ping_ms) >= 3000U)
        {
          last_ping_ms = now;
          uint32_t t0 = HAL_GetTick();
          if (rmw_uros_ping_agent(150, 1) == RMW_RET_OK)
          {
            g_comm_metrics.ping_rtt_ms = (uint16_t)(HAL_GetTick() - t0);
            ping_misses = 0U;
          }
          else if (++ping_misses >= 3U)
          {
            printf("[ROS_WARN] Agent unreachable for 3 pings. Reconnecting...\r\n");
            ping_misses = 0U;
            g_agent_state = AGENT_DISCONNECTED;
            break;
          }
        }

        /* 5. Periodic Time Synchronization (every 60s) to prevent clock drift */
        uint32_t sync_interval_ms = g_time_synced ? 60000U : 1000U;
        if ((now - last_sync_ms) >= sync_interval_ms)
        {
          last_sync_ms = now;
          g_time_synced = (rmw_uros_sync_session(200) == RMW_RET_OK);
          if (g_time_synced)
          {
            int64_t epoch_ms = rmw_uros_epoch_millis();
            printf("[ROS] Periodic time re-sync OK: epoch=%lld ms\r\n", (long long)epoch_ms);
          }
          else
          {
            printf("[ROS_WARN] Periodic time re-sync missed.\r\n");
          }
        }

        osDelay(1);
        break;
      }

      case AGENT_DISCONNECTED:
        destroy_entities();
        /* Stop motors safely when agent disconnects */
        robot_cmd_set(0.0f, 0.0f, 0U);
        g_agent_state = WAITING_AGENT;
        osDelay(200);
        break;
    }
  }
  /* USER CODE END StartDefaultTask */
}

/* USER CODE BEGIN Application */
/* ── Create & Destroy Entities Helper Functions ───────────────────── */
static bool create_entities(void)
{
  static uint32_t attempts;
  const char *stage = "support";
  rcl_ret_t rc;
  allocator = rcl_get_default_allocator();
  memset(&support, 0, sizeof(support));
  node = rcl_get_zero_initialized_node();
  pub_motor_fb = rcl_get_zero_initialized_publisher();
  pub_motor_status = rcl_get_zero_initialized_publisher();
  pub_imu = rcl_get_zero_initialized_publisher();
  pub_imu_debug = rcl_get_zero_initialized_publisher();
  sub_cmd_vel = rcl_get_zero_initialized_subscription();
  sub_motor_enable = rcl_get_zero_initialized_subscription();
  sub_cmd_mit = rcl_get_zero_initialized_subscription();
  sub_cmd_torque = rcl_get_zero_initialized_subscription();
  executor = rclc_executor_get_zero_initialized_executor();
  g_entities = 0U;
  g_time_synced = false;
  g_last_imu_sequence = 0U;
  g_last_imu_stamp_ns = 0;
  rcl_reset_error();
  printf("[ROS] Creating entities, attempt %lu\r\n", (unsigned long)++attempts);

  rc = rclc_support_init(&support, 0, NULL, &allocator);
  if (rc != RCL_RET_OK)
  {
    /* A clock-init failure can leave a live context behind. */
    if (rcl_context_is_valid(&support.context)) g_entities |= ENT_SUPPORT;
    goto fail;
  }
  g_entities |= ENT_SUPPORT;

  stage = "node";
  rc = rclc_node_init_default(&node, "stm32h7_node", "", &support);
  if (rc != RCL_RET_OK) goto fail;
  g_entities |= ENT_NODE;

  stage = "publisher /motor_fb";
  rc = rclc_publisher_init_best_effort(&pub_motor_fb, &node,
    ROSIDL_GET_MSG_TYPE_SUPPORT(sensor_msgs, msg, JointState), "motor_fb");
  if (rc != RCL_RET_OK) goto fail;
  g_entities |= ENT_MOTOR_FB;

  stage = "publisher /motor_status";
  rc = rclc_publisher_init_default(&pub_motor_status, &node,
    ROSIDL_GET_MSG_TYPE_SUPPORT(std_msgs, msg, UInt8), "motor_status");
  if (rc != RCL_RET_OK) goto fail;
  g_entities |= ENT_MOTOR_STATUS;
  /* Bound a reliable status publication so a missing ACK cannot stall sensor
   * publication for the library's default one-second timeout. */
  (void)rmw_uros_set_publisher_session_timeout(
    rcl_publisher_get_rmw_handle(&pub_motor_status), 20);

  stage = "publisher /imu/data";
  rc = rclc_publisher_init_best_effort(&pub_imu, &node,
    ROSIDL_GET_MSG_TYPE_SUPPORT(sensor_msgs, msg, Imu), "imu/data");
  if (rc != RCL_RET_OK) goto fail;
  g_entities |= ENT_IMU;

  stage = "publisher /imu/debug";
  rc = rclc_publisher_init_best_effort(&pub_imu_debug, &node,
    ROSIDL_GET_MSG_TYPE_SUPPORT(std_msgs, msg, Float64MultiArray), "imu/debug");
  if (rc != RCL_RET_OK) goto fail;
  g_entities |= ENT_IMU_DEBUG;
  memset(&imu_debug_msg, 0, sizeof(imu_debug_msg));
  imu_debug_msg.data.data = imu_debug_data;
  imu_debug_msg.data.size = 22;
  imu_debug_msg.data.capacity = 22;

  stage = "subscription /cmd_vel";
  rc = rclc_subscription_init_best_effort(&sub_cmd_vel, &node,
    ROSIDL_GET_MSG_TYPE_SUPPORT(geometry_msgs, msg, Twist), "cmd_vel");
  if (rc != RCL_RET_OK) goto fail;
  g_entities |= ENT_CMD_VEL;

  stage = "subscription /motor_enable";
  rc = rclc_subscription_init_default(&sub_motor_enable, &node,
    ROSIDL_GET_MSG_TYPE_SUPPORT(std_msgs, msg, Bool), "motor_enable");
  if (rc != RCL_RET_OK) goto fail;
  g_entities |= ENT_MOTOR_ENABLE;

  stage = "subscription /cmd_mit";
  rc = rclc_subscription_init_best_effort(&sub_cmd_mit, &node,
    ROSIDL_GET_MSG_TYPE_SUPPORT(std_msgs, msg, Float64MultiArray), "cmd_mit");
  if (rc != RCL_RET_OK) goto fail;
  g_entities |= ENT_CMD_MIT;

  stage = "subscription /cmd_torque";
  rc = rclc_subscription_init_best_effort(&sub_cmd_torque, &node,
    ROSIDL_GET_MSG_TYPE_SUPPORT(std_msgs, msg, Float64MultiArray), "cmd_torque");
  if (rc != RCL_RET_OK) goto fail;
  g_entities |= ENT_CMD_TORQUE;

  memset(&cmd_vel_msg, 0, sizeof(cmd_vel_msg));
  memset(&motor_enable_msg, 0, sizeof(motor_enable_msg));
  memset(&cmd_mit_msg, 0, sizeof(cmd_mit_msg));
  for (uint32_t i = 0; i < CMD_MIT_DIM_MAX; i++)
  {
    cmd_mit_dim[i].label.data     = cmd_mit_label[i];
    cmd_mit_dim[i].label.size     = 0U;
    cmd_mit_dim[i].label.capacity = CMD_MIT_LABEL_MAX;
  }
  cmd_mit_msg.layout.dim.data     = cmd_mit_dim;
  cmd_mit_msg.layout.dim.size     = 0U;
  cmd_mit_msg.layout.dim.capacity = CMD_MIT_DIM_MAX;
  cmd_mit_msg.data.data           = cmd_mit_data;
  cmd_mit_msg.data.size           = 0U;
  cmd_mit_msg.data.capacity       = CMD_MIT_LEN;

  memset(&cmd_torque_msg, 0, sizeof(cmd_torque_msg));
  for (uint32_t i = 0; i < CMD_MIT_DIM_MAX; i++)
  {
    cmd_torque_dim[i].label.data     = cmd_torque_label[i];
    cmd_torque_dim[i].label.size     = 0U;
    cmd_torque_dim[i].label.capacity = CMD_MIT_LABEL_MAX;
  }
  cmd_torque_msg.layout.dim.data     = cmd_torque_dim;
  cmd_torque_msg.layout.dim.size     = 0U;
  cmd_torque_msg.layout.dim.capacity = CMD_MIT_DIM_MAX;
  cmd_torque_msg.data.data           = cmd_torque_data;
  cmd_torque_msg.data.size           = 0U;
  cmd_torque_msg.data.capacity       = CMD_TORQUE_LEN;

  stage = "executor";
  rc = rclc_executor_init(&executor, &support.context, 4, &allocator);
  if (rc != RCL_RET_OK) goto fail;
  g_entities |= ENT_EXECUTOR;

  stage = "executor /cmd_vel";
  rc = rclc_executor_add_subscription(&executor, &sub_cmd_vel, &cmd_vel_msg,
    &cmd_vel_callback, ON_NEW_DATA);
  if (rc != RCL_RET_OK) goto fail;
  stage = "executor /motor_enable";
  rc = rclc_executor_add_subscription(&executor, &sub_motor_enable, &motor_enable_msg,
    &motor_enable_callback, ON_NEW_DATA);
  if (rc != RCL_RET_OK) goto fail;
  stage = "executor /cmd_mit";
  rc = rclc_executor_add_subscription(&executor, &sub_cmd_mit, &cmd_mit_msg,
    &cmd_mit_callback, ON_NEW_DATA);
  if (rc != RCL_RET_OK) goto fail;
  stage = "executor /cmd_torque";
  rc = rclc_executor_add_subscription(&executor, &sub_cmd_torque, &cmd_torque_msg,
    &cmd_torque_callback, ON_NEW_DATA);
  if (rc != RCL_RET_OK) goto fail;

  /* 6. Prepare Static JointState Message */
  memset(&motor_fb_msg, 0, sizeof(motor_fb_msg));
  memset(&motor_status_msg, 0, sizeof(motor_status_msg));

  /* A zeroed header leaves frame_id.data == NULL, which serialises as a
     zero-length CDR string, and stamp == 0, which makes every time-aware
     consumer (rqt_plot, PlotJuggler, robot_localization) discard the sample. */
  motor_fb_msg.header.frame_id.data     = js_frame_id;
  motor_fb_msg.header.frame_id.size     = sizeof(js_frame_id) - 1U;
  motor_fb_msg.header.frame_id.capacity = sizeof(js_frame_id);

  js_name_item[0].data     = js_name_str0;
  js_name_item[0].size     = sizeof(js_name_str0) - 1U;
  js_name_item[0].capacity = sizeof(js_name_str0);
  js_name_item[1].data     = js_name_str1;
  js_name_item[1].size     = sizeof(js_name_str1) - 1U;
  js_name_item[1].capacity = sizeof(js_name_str1);

  motor_fb_msg.name.data     = js_name_item;
  motor_fb_msg.name.size     = 2U;
  motor_fb_msg.name.capacity = 2U;
  motor_fb_msg.position.data = js_pos;
  motor_fb_msg.position.size = 2U;
  motor_fb_msg.position.capacity = 2U;
  motor_fb_msg.velocity.data = js_vel;
  motor_fb_msg.velocity.size = 2U;
  motor_fb_msg.velocity.capacity = 2U;
  motor_fb_msg.effort.data   = js_eff;
  motor_fb_msg.effort.size   = 2U;
  motor_fb_msg.effort.capacity = 2U;

  memset(&imu_msg, 0, sizeof(imu_msg));
  imu_msg.header.frame_id.data = imu_frame_id;
  imu_msg.header.frame_id.size = sizeof(imu_frame_id) - 1U;
  imu_msg.header.frame_id.capacity = sizeof(imu_frame_id);
  /* Diagonal covariances (row-major 3x3). Left at zero, robot_localization
   * would read them as perfect measurements and over-trust the IMU.
   * Quaternion yaw is relative to startup: there is no magnetometer heading. */
  imu_msg.orientation_covariance[0]         = IMU_ORIENT_RP_VARIANCE;
  imu_msg.orientation_covariance[4]         = IMU_ORIENT_RP_VARIANCE;
  imu_msg.orientation_covariance[8]         = IMU_ORIENT_YAW_VARIANCE;
  imu_msg.angular_velocity_covariance[0]    = IMU_GYRO_VARIANCE;
  imu_msg.angular_velocity_covariance[4]    = IMU_GYRO_VARIANCE;
  imu_msg.angular_velocity_covariance[8]    = IMU_GYRO_VARIANCE;
  imu_msg.linear_acceleration_covariance[0] = IMU_ACCEL_VARIANCE;
  imu_msg.linear_acceleration_covariance[4] = IMU_ACCEL_VARIANCE;
  imu_msg.linear_acceleration_covariance[8] = IMU_ACCEL_VARIANCE;

  for (uint8_t retry = 0; retry < 3U; ++retry)
  {
    g_time_synced = (rmw_uros_sync_session(1000) == RMW_RET_OK);
    if (g_time_synced) break;
    osDelay(100U);
  }
  printf("[ROS] Time sync %s; sensor publication requires synchronized time.\r\n",
         g_time_synced ? "OK" : "pending");
  printf("[ROS] Node [stm32h7_node] Ready | Pub: [/motor_fb, /motor_status, /imu/data] | Sub: [/cmd_vel, /cmd_mit, /cmd_torque, /motor_enable]\r\n");
  return true;

fail:
  ros_report_error(stage, rc);
  destroy_entities();
  return false;
}

static void destroy_entities(void)
{
  rcl_ret_t rc = RCL_RET_OK;
  /* A disconnected agent cannot acknowledge DELETEs. Local cleanup still
   * releases every pool entry; a new session recreates the remote entities. */
  if (g_entities & ENT_SUPPORT)
    (void)rmw_uros_set_context_entity_destroy_session_timeout(
      rcl_context_get_rmw_context(&support.context), 0);
  if (g_entities & ENT_EXECUTOR) rc = rclc_executor_fini(&executor);
  if (g_entities & ENT_CMD_TORQUE) rc = rcl_subscription_fini(&sub_cmd_torque, &node);
  if (g_entities & ENT_CMD_MIT) rc = rcl_subscription_fini(&sub_cmd_mit, &node);
  if (g_entities & ENT_MOTOR_ENABLE) rc = rcl_subscription_fini(&sub_motor_enable, &node);
  if (g_entities & ENT_CMD_VEL) rc = rcl_subscription_fini(&sub_cmd_vel, &node);
  if (g_entities & ENT_IMU_DEBUG) rc = rcl_publisher_fini(&pub_imu_debug, &node);
  if (g_entities & ENT_IMU) rc = rcl_publisher_fini(&pub_imu, &node);
  if (g_entities & ENT_MOTOR_STATUS) rc = rcl_publisher_fini(&pub_motor_status, &node);
  if (g_entities & ENT_MOTOR_FB) rc = rcl_publisher_fini(&pub_motor_fb, &node);
  if (g_entities & ENT_NODE) rc = rcl_node_fini(&node);
  if (g_entities & ENT_SUPPORT) rc = rclc_support_fini(&support);
  (void)rc;
  g_entities = 0U;
  g_time_synced = false;
  rcl_reset_error();
}

static void ros_report_error(const char *stage, rcl_ret_t rc)
{
  printf("[ROS_ERR] %s failed rc=%d: %s | ROS heap=%lu min=%lu RTOS heap=%lu\r\n",
    stage, (int)rc, rcl_get_error_string().str,
    (unsigned long)xPortGetFreeHeapSizeMicroROS(),
    (unsigned long)xPortGetMinimumEverFreeHeapSizeMicroROS(),
    (unsigned long)xPortGetFreeHeapSize());
  rcl_reset_error();
}

static bool ros_stamp_from_tick(uint32_t sample_tick,
                               builtin_interfaces__msg__Time *stamp)
{
  if (!g_time_synced || !rmw_uros_epoch_synchronized()) return false;
  uint32_t epoch_tick = HAL_GetTick();
  int64_t epoch_ns = rmw_uros_epoch_nanos();
  int64_t sample_ns = epoch_ns - (int64_t)(uint32_t)(epoch_tick - sample_tick) * 1000000LL;
  if (sample_ns <= 0 || sample_ns / 1000000000LL > INT32_MAX) return false;
  stamp->sec = (int32_t)(sample_ns / 1000000000LL);
  stamp->nanosec = (uint32_t)(sample_ns % 1000000000LL);
  return true;
}

static void publish_imu(void)
{
  INS_Snapshot_t sample;
  if (!INS_GetSnapshot(&sample) || !sample.calibrated ||
      (uint32_t)(HAL_GetTick() - sample.sample_tick_ms) > 50U ||
      sample.sequence == g_last_imu_sequence) return;
  if (!ros_stamp_from_tick(sample.sample_tick_ms, &imu_msg.header.stamp)) return;

  int64_t stamp_ns = (int64_t)imu_msg.header.stamp.sec * 1000000000LL +
                    imu_msg.header.stamp.nanosec;
  if (stamp_ns <= g_last_imu_stamp_ns) return;
  /* INS is in the physical sensor axes, not the legacy swapped Euler labels.
   * Host TF must describe the measured imu_link -> base_link mounting. */
  imu_msg.orientation.w = sample.q[0];
  imu_msg.orientation.x = sample.q[1];
  imu_msg.orientation.y = sample.q[2];
  imu_msg.orientation.z = sample.q[3];
  imu_msg.angular_velocity.x = sample.gyro[0];
  imu_msg.angular_velocity.y = sample.gyro[1];
  imu_msg.angular_velocity.z = sample.gyro[2];
  imu_msg.linear_acceleration.x = sample.accel[0];
  imu_msg.linear_acceleration.y = sample.accel[1];
  imu_msg.linear_acceleration.z = sample.accel[2];
  rcl_ret_t rc = rcl_publish(&pub_imu, &imu_msg, NULL);
  if (rc == RCL_RET_OK)
  {
    g_last_imu_sequence = sample.sequence;
    g_last_imu_stamp_ns = stamp_ns;
  }
  else rcl_reset_error();
}

/* Callback: /cmd_vel → robot_cmd_set(), selects Velocity mode */
static void cmd_vel_callback(const void *msg_in)
{
  const geometry_msgs__msg__Twist *msg = (const geometry_msgs__msg__Twist *)msg_in;
  /* A NaN passes every clamp (all comparisons are false) and would reach
     SPD_REF as-is. Drop it; the watchdog stops the wheels if nothing valid
     follows. */
  if (msg != NULL && (!isfinite(msg->linear.x) || !isfinite(msg->angular.z)))
  {
    printf("[CMD_VEL] Ignored: non-finite value\r\n");
    return;
  }
  if (msg != NULL)
  {
    uint32_t now = HAL_GetTick();
    g_comm_metrics.cmd_last_tick = now;
    g_comm_metrics.cmd_rx_count++;
    g_cmd_rx_window_count++;

    /* No per-message logging here: this runs inside the executor, and printing
       every command adds latency to the path that matters most. The rate and
       age are already tracked in g_comm_metrics and shown on the LCD. */
    robot_cmd_set((float)msg->linear.x, (float)msg->angular.z, 1U);
  }
}

/* Callback: /cmd_mit → motor_mit_cmd_set(), selects MIT mode
   data = [pos, vel, kp, kd, tau] for the left wheel, then the same five for
   the right, wheel frame (positive = robot forward), the same frame /motor_fb
   reports in. MOTOR_*_SIGN converts pos/vel/tau to the motor-shaft frame;
   the gains are sign-free. */
static void cmd_mit_callback(const void *msg_in)
{
  const std_msgs__msg__Float64MultiArray *msg = (const std_msgs__msg__Float64MultiArray *)msg_in;
  if (msg == NULL) return;

  /* Reject rather than guess: a short array or a NaN gain reaching the motor
     is a torque command nobody asked for. The previous setpoint stays, and the
     watchdog stops the wheels if no valid one follows. */
  if (msg->data.size != CMD_MIT_LEN)
  {
    printf("[CMD_MIT] Ignored: expected %u values, got %u\r\n",
           (unsigned)CMD_MIT_LEN, (unsigned)msg->data.size);
    return;
  }
  const double *d = msg->data.data;
  for (uint32_t i = 0; i < CMD_MIT_LEN; i++)
  {
    if (!isfinite(d[i]))
    {
      printf("[CMD_MIT] Ignored: non-finite value at [%lu]\r\n", (unsigned long)i);
      return;
    }
  }

  MotorMitCmd_t left  = { (float)d[0] * MOTOR_LEFT_SIGN,  (float)d[1] * MOTOR_LEFT_SIGN,
                          (float)d[2], (float)d[3], (float)d[4] * MOTOR_LEFT_SIGN };
  MotorMitCmd_t right = { (float)d[5] * MOTOR_RIGHT_SIGN, (float)d[6] * MOTOR_RIGHT_SIGN,
                          (float)d[7], (float)d[8], (float)d[9] * MOTOR_RIGHT_SIGN };

  g_comm_metrics.cmd_last_tick = HAL_GetTick();
  g_comm_metrics.cmd_rx_count++;
  g_cmd_rx_window_count++;

  motor_mit_cmd_set(&left, &right);
}

/* Callback: /cmd_torque → motor_mit_cmd_set(), selects MIT mode
   data = [tau_left, tau_right] in Nm, wheel frame (positive = robot forward).
   Pure torque: sent as an MIT setpoint with p = v = Kp = Kd = 0, so the
   actuator outputs tau and nothing else. Same message as ros2_control's
   effort_controllers/JointGroupEffortController. */
static void cmd_torque_callback(const void *msg_in)
{
  const std_msgs__msg__Float64MultiArray *msg = (const std_msgs__msg__Float64MultiArray *)msg_in;
  if (msg == NULL) return;

  if (msg->data.size != CMD_TORQUE_LEN)
  {
    printf("[CMD_TORQUE] Ignored: expected %u values, got %u\r\n",
           (unsigned)CMD_TORQUE_LEN, (unsigned)msg->data.size);
    return;
  }
  const double *d = msg->data.data;
  if (!isfinite(d[0]) || !isfinite(d[1]))
  {
    printf("[CMD_TORQUE] Ignored: non-finite value\r\n");
    return;
  }

  /* No speed loop in this mode, so torque is the only thing limiting how
     hard the wheels accelerate. Clamp in the wheel frame before the sign. */
  float tau_l = fminf(fmaxf((float)d[0], -CMD_TORQUE_MAX_NM), CMD_TORQUE_MAX_NM);
  float tau_r = fminf(fmaxf((float)d[1], -CMD_TORQUE_MAX_NM), CMD_TORQUE_MAX_NM);

  MotorMitCmd_t left  = { 0.0f, 0.0f, 0.0f, 0.0f, tau_l * MOTOR_LEFT_SIGN  };
  MotorMitCmd_t right = { 0.0f, 0.0f, 0.0f, 0.0f, tau_r * MOTOR_RIGHT_SIGN };

  g_comm_metrics.cmd_last_tick = HAL_GetTick();
  g_comm_metrics.cmd_rx_count++;
  g_cmd_rx_window_count++;

  motor_mit_cmd_set(&left, &right);
}

/* Callback: /motor_enable → motor_enable_set() */
static void motor_enable_callback(const void *msg_in)
{
  const std_msgs__msg__Bool *msg = (const std_msgs__msg__Bool *)msg_in;
  if (msg != NULL)
  {
    printf("[MOTOR_EN] State=%d\r\n", msg->data ? 1 : 0);
    motor_enable_set(msg->data ? 1U : 0U);
  }
}

void comm_metrics_get(CommMetrics_t *metrics)
{
  if (metrics != NULL)
  {
    *metrics = g_comm_metrics;
    uint32_t now = HAL_GetTick();
    if (metrics->cmd_last_tick > 0)
    {
      metrics->cmd_age_ms = now - metrics->cmd_last_tick;
    }
    else
    {
      metrics->cmd_age_ms = 0xFFFF;
    }
    metrics->rx_pending_bytes = (uint16_t)cubemx_transport_get_pending();
  }
}

void INS_Task_Entry(void *argument)
{
  INS_task(); /* BMI088_Init already called in main() before RTOS start */
}

void Observe_Task_Entry(void *argument)
{
  for (;;) { Observe_task(); }
}

void Motor_Task_Entry(void *argument)
{
  Motor_task();
}

/* ── FreeRTOS Error Hooks ─────────────────────────────────────────── */
void vApplicationStackOverflowHook(TaskHandle_t xTask, char *pcTaskName)
{
  (void)xTask;
  printf("\r\n[FATAL] Stack Overflow in Task: [%s]!\r\n", pcTaskName ? pcTaskName : "Unknown");
  for (;;) { osDelay(100); }
}

void vApplicationMallocFailedHook(void)
{
  printf("\r\n[FATAL] FreeRTOS Heap Allocation Failed (Out of Memory)!\r\n");
  for (;;) { osDelay(100); }
}
/* USER CODE END Application */
